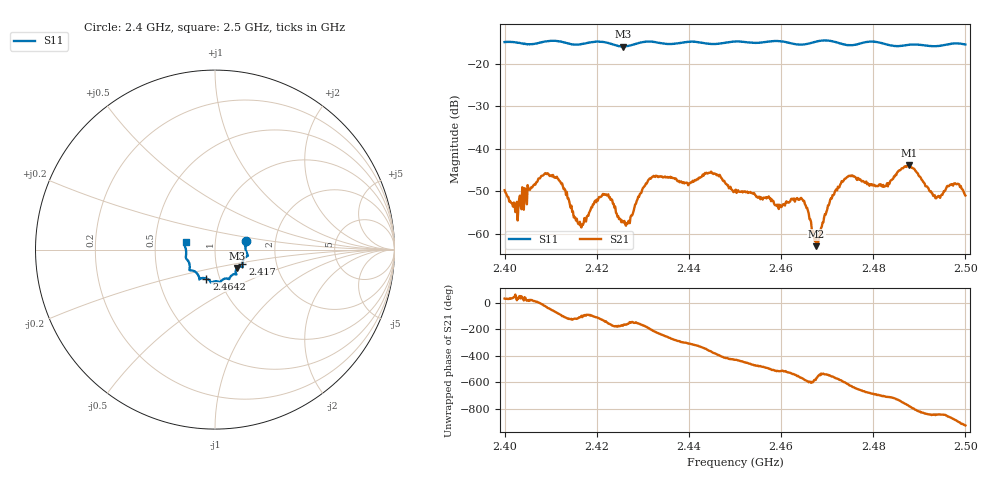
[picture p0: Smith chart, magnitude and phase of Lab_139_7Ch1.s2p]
# Hz S RI R 50
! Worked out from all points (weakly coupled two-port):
!   601 points, 2.4 GHz to 2.5 GHz, reference 50 ohm
!   highest |S21| = -43.87 dB at 2.4878 GHz (marker M1); lowest = -62.9 dB at 2.4677 GHz (marker M2)
!   lowest |S11| = -15.9 dB at 2.4257 GHz (marker M3), VSWR 1.38, Z = 62.4 - j13.1 ohm
!   |S11| at or under -10 dB: start of sweep to end of sweep
!   S12 and S22 are empty: the file has one direction only
!   S11 on the Smith chart (normalised r, x): 2.4 GHz: 1.41, +0.15; 2.417 GHz: 1.34, -0.22; 2.4642 GHz: 0.86, -0.29; 2.5 GHz: 0.72, +0.06
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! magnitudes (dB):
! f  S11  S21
! 2.4 GHz  -14.9  -49.7
! 2.4025 GHz  -15.0  -53.8
! 2.4083 GHz  -14.8  -46.3
! 2.411 GHz  -14.6  -46.6
! 2.4167 GHz  -15.4  -58.5
! 2.417 GHz  -15.3  -57.8
! 2.4217 GHz  -14.9  -50.8
! 2.4257 GHz  -15.9  -57.2
! 2.4333 GHz  -15.0  -46.6
! 2.4452 GHz  -15.3  -45.8
! 2.45 GHz  -14.7  -49.7
! 2.4597 GHz  -14.7  -53.1
! 2.4642 GHz  -15.5  -51.6
! 2.4667 GHz  -15.0  -58.9
! 2.4677 GHz  -14.8  -62.9
! 2.4707 GHz  -14.6  -51.9
! 2.4742 GHz  -15.6  -46.8
! 2.4833 GHz  -15.6  -48.0
! 2.4878 GHz  -15.5  -43.9
! 2.4935 GHz  -15.9  -51.6
! 2.498 GHz  -15.2  -48.3
! 2.5 GHz  -15.4  -51.0
